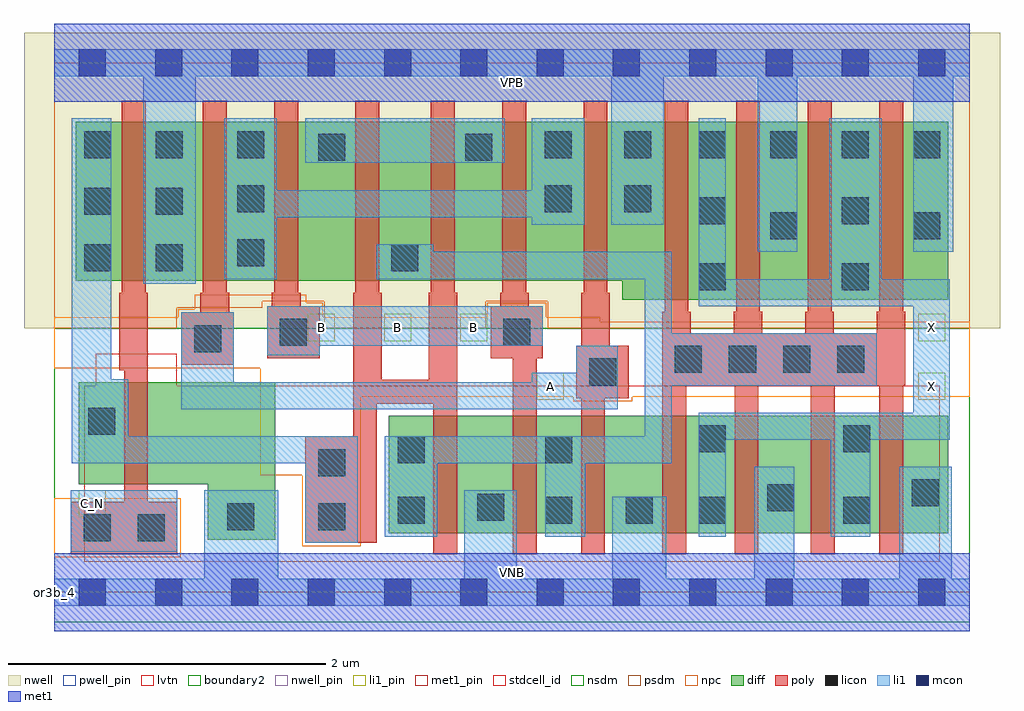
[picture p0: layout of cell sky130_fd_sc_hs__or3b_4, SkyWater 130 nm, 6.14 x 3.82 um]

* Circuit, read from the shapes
.subckt sky130_fd_sc_hs__or3b_4 A B C_N VGND VNB VPB VPWR X
XM1 VGND C_N n1 VNB sky130_fd_pr__nfet_01v8_lvt w=0.64 l=0.15
XM2 VGND n1 n2 VNB sky130_fd_pr__nfet_01v8_lvt w=0.74 l=0.15
XM3 n2 B VGND VNB sky130_fd_pr__nfet_01v8_lvt w=0.74 l=0.15
XM4 VGND A n2 VNB sky130_fd_pr__nfet_01v8_lvt w=0.74 l=0.15
XM5 X n2 VGND VNB sky130_fd_pr__nfet_01v8_lvt w=0.74 l=0.15 m=4
XM6 VPWR C_N n1 VPB sky130_fd_pr__pfet_01v8 w=1 l=0.15
XM7 n3 A VPWR VPB sky130_fd_pr__pfet_01v8 w=1 l=0.15 m=2
XM8 n4 B n3 VPB sky130_fd_pr__pfet_01v8 w=1 l=0.15 m=2
XM9 n2 n1 n4 VPB sky130_fd_pr__pfet_01v8 w=1 l=0.15 m=2
XM10 X n2 VPWR VPB sky130_fd_pr__pfet_01v8 w=1.12 l=0.15 m=4
.ends

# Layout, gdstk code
import gdstk
lib = gdstk.Library(unit=1e-6, precision=1e-09)
def R(c, l, rs):  # rectangles x0, y0, x1, y1
    for r in rs: c.add(gdstk.rectangle(r[:2], r[2:], *l))
def A(c, l, x, y, w, h, nx, ny, dx, dy):  # array of equal rectangles
    R(c, l, [(x+i*dx, y+j*dy, x+i*dx+w, y+j*dy+h) for i in range(nx) for j in range(ny)])
def P(c, l, *ps):  # polygons
    for p in ps: c.add(gdstk.Polygon(p, *l))
nwell_pin = (64, 16)
nwell = (64, 20)
diff = (65, 20)
poly = (66, 20)
licon = (66, 44)
li1_pin = (67, 16)
li1 = (67, 20)
mcon = (67, 44)
met1_pin = (68, 16)
met1 = (68, 20)
stdcell_id = (81, 4)
nsdm = (93, 44)
psdm = (94, 20)
npc = (95, 20)
pwell_pin = (122, 16)
lvtn = (125, 44)
boundary2 = (236, 0)

sky130_fd_sc_hs__or3b_4 = lib.new_cell('sky130_fd_sc_hs__or3b_4')
R(sky130_fd_sc_hs__or3b_4, nwell_pin, [(0,3.085,5.76,3.33)])
R(sky130_fd_sc_hs__or3b_4, nwell, [(-0.19,1.66,5.95,3.52)])
R(sky130_fd_sc_hs__or3b_4, diff, [(2.105,0.37,5.625,1.11)])
P(sky130_fd_sc_hs__or3b_4, diff, [(1.39,1.32),(0.155,1.32),(0.155,0.68),(0.965,0.68),(0.965,0.33),(1.39,0.33)],
  [(5.625,2.96),(0.135,2.96),(0.135,1.96),(3.575,1.96),(3.575,1.84),(5.625,1.84)])
P(sky130_fd_sc_hs__or3b_4, poly, [(5.355,1.765),(5.34,1.765),(5.34,3.09),(5.19,3.09),(5.19,1.765),(5.175,1.765),(5.175,1.63),(4.905,1.63),(4.905,1.765),(4.89,1.765),(4.89,3.09),(4.74,3.09),(4.74,1.765),(4.725,1.765),(4.725,1.63),(4.455,1.63),(4.455,1.765),(4.44,1.765),(4.44,3.09),(4.29,3.09),(4.29,1.765),(4.275,1.765),(4.275,1.63),(4.005,1.63),(4.005,1.765),(3.99,1.765),(3.99,3.09),(3.84,3.09),(3.84,1.765),(3.825,1.765),(3.825,0.24),(3.975,0.24),(3.975,1.3),(4.28,1.3),(4.28,0.24),(4.43,0.24),(4.43,1.3),(4.76,1.3),(4.76,0.24),(4.91,0.24),(4.91,1.3),(5.19,1.3),(5.19,0.24),(5.34,0.24),(5.34,1.3),(5.355,1.3)],
  [(3.615,1.55),(3.495,1.55),(3.495,1.885),(3.48,1.885),(3.48,3.09),(3.33,3.09),(3.33,1.885),(3.315,1.885),(3.315,1.55),(3.285,1.55),(3.285,1.22),(3.315,1.22),(3.315,0.24),(3.465,0.24),(3.465,1.22),(3.615,1.22)],
  [(3.075,1.8),(2.985,1.8),(2.985,1.885),(2.97,1.885),(2.97,3.09),(2.82,3.09),(2.82,1.885),(2.805,1.885),(2.805,1.8),(2.745,1.8),(2.745,1.47),(2.885,1.47),(2.885,0.24),(3.035,0.24),(3.035,1.47),(3.075,1.47)],
  [(2.535,1.885),(2.52,1.885),(2.52,3.09),(2.37,3.09),(2.37,1.885),(2.355,1.885),(2.355,1.335),(2.06,1.335),(2.06,1.885),(2.045,1.885),(2.045,3.09),(1.895,3.09),(1.895,1.885),(1.88,1.885),(1.88,0.98),(1.58,0.98),(1.58,0.31),(2.03,0.31),(2.03,1.185),(2.385,1.185),(2.385,0.24),(2.535,0.24)],
  [(1.67,1.8),(1.55,1.8),(1.55,1.885),(1.535,1.885),(1.535,3.09),(1.385,3.09),(1.385,1.885),(1.37,1.885),(1.37,1.8),(1.34,1.8),(1.34,1.47),(1.67,1.47)],
  [(1.13,1.76),(1.1,1.76),(1.1,1.885),(1.085,1.885),(1.085,3.09),(0.935,3.09),(0.935,1.885),(0.92,1.885),(0.92,1.76),(0.8,1.76),(0.8,1.43),(1.13,1.43)],
  [(0.775,0.57),(0.59,0.57),(0.59,1.885),(0.575,1.885),(0.575,3.09),(0.425,3.09),(0.425,1.885),(0.41,1.885),(0.41,1.395),(0.44,1.395),(0.44,0.57),(0.105,0.57),(0.105,0.24),(0.775,0.24)])
A(sky130_fd_sc_hs__or3b_4, licon, 3.905, 1.38, 0.17, 0.17, 4, 1, 0.34, 0)
A(sky130_fd_sc_hs__or3b_4, licon, 0.19, 2.02, 0.17, 0.17, 1, 3, 0, 0.355)
A(sky130_fd_sc_hs__or3b_4, licon, 0.64, 2.02, 0.17, 0.17, 1, 3, 0, 0.355)
A(sky130_fd_sc_hs__or3b_4, licon, 1.15, 2.05, 0.17, 0.17, 1, 3, 0, 0.34)
A(sky130_fd_sc_hs__or3b_4, licon, 4.055, 2.73, 0.17, 0.17, 4, 1, 0.45, 0)
R(sky130_fd_sc_hs__or3b_4, licon, [(0.185,0.32,0.355,0.49), (0.525,0.32,0.695,0.49), (1.09,0.39,1.26,0.56), (1.66,0.39,1.83,0.56), (2.16,0.43,2.33,0.6), (3.09,0.43,3.26,0.6), (3.595,0.43,3.765,0.6), (4.055,0.43,4.225,0.6), (4.965,0.43,5.135,0.6), (2.66,0.45,2.83,0.62), (4.485,0.51,4.655,0.68), (5.395,0.54,5.565,0.71), (1.66,0.73,1.83,0.9), (2.16,0.81,2.33,0.98), (3.09,0.81,3.26,0.98), (4.055,0.88,4.225,1.05), (4.965,0.88,5.135,1.05), (0.215,0.99,0.385,1.16), (3.365,1.3,3.535,1.47), (0.88,1.51,1.05,1.68), (1.42,1.55,1.59,1.72), (2.825,1.55,2.995,1.72), (4.055,1.9,4.225,2.07), (4.955,1.9,5.125,2.07), (2.12,2.02,2.29,2.19), (4.505,2.22,4.675,2.39), (5.405,2.22,5.575,2.39), (4.055,2.315,4.225,2.485), (4.955,2.315,5.125,2.485), (3.085,2.39,3.255,2.56), (3.585,2.39,3.755,2.56), (1.66,2.715,1.83,2.885), (2.585,2.715,2.755,2.885), (3.085,2.73,3.255,2.9), (3.585,2.73,3.755,2.9)])
A(sky130_fd_sc_hs__or3b_4, li1_pin, 1.595, 1.58, 0.17, 0.17, 3, 1, 0.48, 0)
R(sky130_fd_sc_hs__or3b_4, li1_pin, [(0.155,0.47,0.325,0.64), (3.035,1.21,3.205,1.38), (5.435,1.21,5.605,1.38), (5.435,1.58,5.605,1.75)])
R(sky130_fd_sc_hs__or3b_4, li1, [(0.105,0.255,0.775,0.64), (1.58,2.7,2.835,2.98)])
P(sky130_fd_sc_hs__or3b_4, li1, [(0,-0.085),(0,0.085),(0.945,0.085),(0.945,0.64),(1.41,0.64),(1.41,0.085),(2.58,0.085),(2.58,0.64),(2.91,0.64),(2.91,0.085),(3.51,0.085),(3.51,0.6),(3.85,0.6),(3.85,0.085),(4.405,0.085),(4.405,0.79),(4.655,0.79),(4.655,0.085),(5.315,0.085),(5.315,0.79),(5.645,0.79),(5.645,0.085),(5.76,0.085),(5.76,-0.085)],
  [(0,3.245),(0,3.415),(5.76,3.415),(5.76,3.245),(5.655,3.245),(5.655,2.14),(5.405,2.14),(5.405,3.245),(4.675,3.245),(4.675,2.14),(4.425,2.14),(4.425,3.245),(3.835,3.245),(3.835,2.31),(3.505,2.31),(3.505,3.245),(0.89,3.245),(0.89,1.94),(0.56,1.94),(0.56,3.245)],
  [(3.285,1.38),(3.285,1.55),(3.545,1.55),(3.545,1.15),(0.8,1.15),(0.8,1.76),(1.13,1.76),(1.13,1.32),(3.005,1.32),(3.005,1.38)],
  [(3.075,1.8),(3.075,1.55),(1.67,1.55),(1.67,1.49),(1.34,1.49),(1.34,1.8)],
  [(5.405,1.13),(5.405,1.8),(4.055,1.8),(4.055,2.98),(4.225,2.98),(4.225,1.97),(4.875,1.97),(4.875,2.98),(5.205,2.98),(5.205,1.97),(5.635,1.97),(5.635,0.96),(5.135,0.96),(5.135,0.35),(4.885,0.35),(4.885,0.96),(4.225,0.96),(4.225,0.35),(4.055,0.35),(4.055,1.13)],
  [(1.4,2.53),(3.005,2.53),(3.005,2.98),(3.335,2.98),(3.335,2.31),(3.005,2.31),(3.005,2.36),(1.4,2.36),(1.4,1.97),(1.07,1.97),(1.07,2.98),(1.4,2.98)],
  [(3.715,0.98),(3.715,1.97),(2.03,1.97),(2.03,2.19),(2.385,2.19),(2.385,2.14),(3.885,2.14),(3.885,1.63),(5.175,1.63),(5.175,1.3),(3.885,1.3),(3.885,0.81),(3.34,0.81),(3.34,0.35),(3.09,0.35),(3.09,0.81),(2.41,0.81),(2.41,0.35),(2.08,0.35),(2.08,0.98)],
  [(0.11,0.81),(0.11,2.98),(0.36,2.98),(0.36,1.34),(0.465,1.34),(0.465,0.98),(1.91,0.98),(1.91,0.31),(1.58,0.31),(1.58,0.81)])
A(sky130_fd_sc_hs__or3b_4, mcon, 0.155, -0.085, 0.17, 0.17, 12, 2, 0.48, 3.33)
R(sky130_fd_sc_hs__or3b_4, met1_pin, [(0,0,5.76,0.245), (0,3.085,5.76,3.33)])
R(sky130_fd_sc_hs__or3b_4, met1, [(0,-0.245,5.76,0.245), (0,3.085,5.76,3.575)])
R(sky130_fd_sc_hs__or3b_4, stdcell_id, [(0,0,5.76,3.33)])
R(sky130_fd_sc_hs__or3b_4, nsdm, [(0,-0.19,5.76,1.66)])
P(sky130_fd_sc_hs__or3b_4, psdm, [(5.76,3.52),(0,3.52),(0,1.66),(0.77,1.66),(0.77,1.79),(1.31,1.79),(1.31,1.83),(1.7,1.83),(1.7,1.66),(2.715,1.66),(2.715,1.83),(3.105,1.83),(3.105,1.66),(5.76,1.66)])
R(sky130_fd_sc_hs__or3b_4, npc, [(0,0.22,0.795,0.59)])
P(sky130_fd_sc_hs__or3b_4, npc, [(5.76,1.7),(3.435,1.7),(3.435,1.73),(3.095,1.73),(3.095,1.82),(2.725,1.82),(2.725,1.73),(1.69,1.73),(1.69,1.82),(1.585,1.82),(1.585,1.87),(0.885,1.87),(0.885,1.78),(0.78,1.78),(0.78,1.73),(0,1.73),(0,1.41),(1.295,1.41),(1.295,0.735),(1.56,0.735),(1.56,0.29),(1.93,0.29),(1.93,1.23),(3.265,1.23),(3.265,1.2),(3.635,1.2),(3.635,1.23),(5.76,1.23)])
R(sky130_fd_sc_hs__or3b_4, pwell_pin, [(0,0,5.76,0.245)])
P(sky130_fd_sc_hs__or3b_4, lvtn, [(5.57,1.3),(0.77,1.3),(0.77,1.5),(0.26,1.5),(0.26,1.3),(0.19,1.3),(0.19,0.19),(5.57,0.19)])
R(sky130_fd_sc_hs__or3b_4, boundary2, [(0,0,5.76,3.33)])
sky130_fd_sc_hs__or3b_4.add(gdstk.Label('or3b_4', (0,0), layer=83, texttype=44))
sky130_fd_sc_hs__or3b_4.add(gdstk.Label('VNB', (2.88,0.123), layer=64, texttype=59))
sky130_fd_sc_hs__or3b_4.add(gdstk.Label('VPB', (2.88,3.208), layer=64, texttype=5))
sky130_fd_sc_hs__or3b_4.add(gdstk.Label('VPWR', (2.88,3.208), layer=68, texttype=5))
sky130_fd_sc_hs__or3b_4.add(gdstk.Label('VGND', (2.88,0.123), layer=68, texttype=5))
sky130_fd_sc_hs__or3b_4.add(gdstk.Label('A', (3.12,1.295), layer=67, texttype=5))
sky130_fd_sc_hs__or3b_4.add(gdstk.Label('B', (1.68,1.665), layer=67, texttype=5))
sky130_fd_sc_hs__or3b_4.add(gdstk.Label('B', (2.16,1.665), layer=67, texttype=5))
sky130_fd_sc_hs__or3b_4.add(gdstk.Label('B', (2.64,1.665), layer=67, texttype=5))
sky130_fd_sc_hs__or3b_4.add(gdstk.Label('C_N', (0.24,0.555), layer=67, texttype=5))
sky130_fd_sc_hs__or3b_4.add(gdstk.Label('X', (5.52,1.295), layer=67, texttype=5))
sky130_fd_sc_hs__or3b_4.add(gdstk.Label('X', (5.52,1.665), layer=67, texttype=5))

lib.write_gds('sky130_fd_sc_hs__or3b_4.gds')
